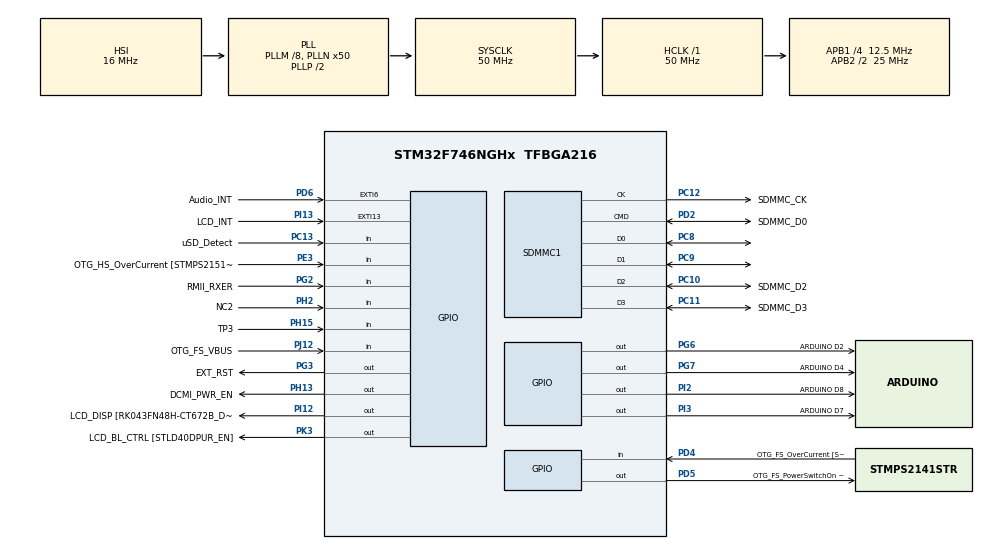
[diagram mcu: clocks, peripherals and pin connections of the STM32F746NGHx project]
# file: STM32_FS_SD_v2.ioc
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Dma.Request0=SDMMC1_RX
Dma.Request1=SDMMC1_TX
Dma.SDMMC1_RX.0.Direction=DMA_PERIPH_TO_MEMORY
Dma.SDMMC1_RX.0.FIFOMode=DMA_FIFOMODE_ENABLE
Dma.SDMMC1_RX.0.FIFOThreshold=DMA_FIFO_THRESHOLD_FULL
Dma.SDMMC1_RX.0.Instance=DMA2_Stream3
Dma.SDMMC1_RX.0.MemBurst=DMA_MBURST_INC4
Dma.SDMMC1_RX.0.MemDataAlignment=DMA_MDATAALIGN_WORD
Dma.SDMMC1_RX.0.MemInc=DMA_MINC_ENABLE
Dma.SDMMC1_RX.0.Mode=DMA_PFCTRL
Dma.SDMMC1_RX.0.PeriphBurst=DMA_PBURST_INC4
Dma.SDMMC1_RX.0.PeriphDataAlignment=DMA_PDATAALIGN_WORD
Dma.SDMMC1_RX.0.PeriphInc=DMA_PINC_DISABLE
Dma.SDMMC1_RX.0.Priority=DMA_PRIORITY_LOW
Dma.SDMMC1_TX.1.Direction=DMA_MEMORY_TO_PERIPH
Dma.SDMMC1_TX.1.FIFOMode=DMA_FIFOMODE_ENABLE
Dma.SDMMC1_TX.1.FIFOThreshold=DMA_FIFO_THRESHOLD_FULL
Dma.SDMMC1_TX.1.Instance=DMA2_Stream6
Dma.SDMMC1_TX.1.MemBurst=DMA_MBURST_INC4
Dma.SDMMC1_TX.1.MemDataAlignment=DMA_MDATAALIGN_WORD
Dma.SDMMC1_TX.1.MemInc=DMA_MINC_ENABLE
Dma.SDMMC1_TX.1.Mode=DMA_PFCTRL
Dma.SDMMC1_TX.1.PeriphBurst=DMA_PBURST_INC4
Dma.SDMMC1_TX.1.PeriphDataAlignment=DMA_PDATAALIGN_WORD
Dma.SDMMC1_TX.1.PeriphInc=DMA_PINC_DISABLE
Dma.SDMMC1_TX.1.Priority=DMA_PRIORITY_LOW
FATFS.BSP.number=1
FATFS.USE_DMA_CODE_SD=1
FATFS0.BSP.STBoard=false
FATFS0.BSP.api=Unknown
FATFS0.BSP.i2caddr=0
FATFS0.BSP.instance=PC13
FATFS0.BSP.ip=GPIO
FATFS0.BSP.mode=Input
FATFS0.BSP.name=Detect_SDIO
FATFS0.BSP.solution=PC13
Mcu.Family=STM32F7
Mcu.Name=STM32F746NGHx
Mcu.Package=TFBGA216
NVIC.DMA2_Stream3_IRQn=true\:0\:0\:false\:false\:true\:false\:true
NVIC.DMA2_Stream6_IRQn=true\:0\:0\:false\:false\:true\:false\:true
NVIC.PriorityGroup=NVIC_PRIORITYGROUP_4
NVIC.SDMMC1_IRQn=true\:0\:0\:false\:false\:true\:true\:true
PA0/WKUP.GPIO_Label=ARDUINO A0
PA0/WKUP.GPIO_Mode=GPIO_MODE_ANALOG
PA0/WKUP.GPIO_PuPd=GPIO_NOPULL
PA0/WKUP.Signal=ADCx_IN0
PA1.GPIO_Label=RMII_REF_CLK [LAN8742A-CZ-TR_REFCLK0]
PA1.Signal=ETH_REF_CLK
PA10.GPIO_Label=OTG_FS_ID
PA10.Signal=USB_OTG_FS_ID
PA11.GPIO_Label=OTG_FS_N
PA11.Signal=USB_OTG_FS_DM
PA12.GPIO_Label=OTG_FS_P
PA12.Signal=USB_OTG_FS_DP
PA13.GPIO_Label=SWDIO
PA13.Signal=SYS_JTMS-SWDIO
PA14.GPIO_Label=SWCLK
PA14.Signal=SYS_JTCK-SWCLK
PA15.GPIO_Label=ARDUINO PWM/D9
PA15.GPIO_ModeDefaultPP=GPIO_MODE_AF_PP
PA15.GPIO_PuPd=GPIO_NOPULL
PA15.GPIO_Speed=GPIO_SPEED_FREQ_LOW
PA15.Signal=S_TIM2_CH1_ETR
PA2.GPIO_Label=RMII_MDIO [LAN8742A-CZ-TR_MDIO]
PA2.Signal=ETH_MDIO
PA3.GPIO_Label=ULPI_D0 [USB3320C-EZK_D0]
PA3.Signal=USB_OTG_HS_ULPI_D0
PA4.GPIO_Label=DCMI_HSYNC
PA4.Signal=DCMI_HSYNC
PA5.GPIO_Label=ULPI_CLK [USB3320C-EZK_CLKOUT]
PA5.Signal=USB_OTG_HS_ULPI_CK
PA6.Signal=DCMI_PIXCLK
PA7.GPIO_Label=RMII_CRS_DV [LAN8742A-CZ-TR_CRS_DV]
PA7.Signal=ETH_CRS_DV
PA8.GPIO_Label=ARDUINO PWM/D10
PA8.GPIO_ModeDefaultPP=GPIO_MODE_AF_PP
PA8.GPIO_PuPd=GPIO_NOPULL
PA8.GPIO_Speed=GPIO_SPEED_FREQ_LOW
PA8.Signal=S_TIM1_CH1
PA9.GPIO_Label=VCP_TX [STM32F103CBT6_PA3]
PA9.GPIO_Mode=GPIO_MODE_AF_PP
PA9.GPIO_PuPd=GPIO_NOPULL
PA9.GPIO_Speed=GPIO_SPEED_FREQ_LOW
PA9.Signal=USART1_TX
PB0.GPIO_Label=ULPI_D1 [USB3320C-EZK_D1]
PB0.Signal=USB_OTG_HS_ULPI_D1
PB1.GPIO_Label=ULPI_D2 [USB3320C-EZK_D2]
PB1.Signal=USB_OTG_HS_ULPI_D2
PB10.GPIO_Label=ULPI_D3 [USB3320C-EZK_D3]
PB10.Signal=USB_OTG_HS_ULPI_D3
PB11.GPIO_Label=ULPI_D4 [USB3320C-EZK_D4]
PB11.Signal=USB_OTG_HS_ULPI_D4
PB12.GPIO_Label=ULPI_D5 [USB3320C-EZK_D5]
PB12.Signal=USB_OTG_HS_ULPI_D5
PB13.GPIO_Label=ULPI_D6 [USB3320C-EZK_D6]
PB13.Signal=USB_OTG_HS_ULPI_D6
PB14.GPIO_Label=ARDUINO MISO/D12
PB14.GPIO_Mode=GPIO_MODE_AF_PP
PB14.GPIO_PuPd=GPIO_NOPULL
PB14.GPIO_Speed=GPIO_SPEED_FREQ_LOW
PB14.Signal=SPI2_MISO
PB15.GPIO_Label=ARDUINO MOSI/PWM/D11
PB15.GPIO_Mode=GPIO_MODE_AF_PP
PB15.GPIO_PuPd=GPIO_NOPULL
PB15.GPIO_Speed=GPIO_SPEED_FREQ_LOW
PB15.Signal=SPI2_MOSI
PB2.Signal=QUADSPI_CLK
PB3.GPIO_Label=SWO
PB3.Signal=SYS_JTDO-SWO
PB4.GPIO_Label=ARDUINO PWM/D3
PB4.GPIO_ModeDefaultPP=GPIO_MODE_AF_PP
PB4.GPIO_PuPd=GPIO_NOPULL
PB4.GPIO_Speed=GPIO_SPEED_FREQ_LOW
PB4.Signal=S_TIM3_CH1
PB5.GPIO_Label=ULPI_D7 [USB3320C-EZK_D7]
PB5.Signal=USB_OTG_HS_ULPI_D7
PB6.GPIO_Label=QSPI_NCS [N25Q128A13EF840E_S]
PB6.Signal=QUADSPI_BK1_NCS
PB7.GPIO_Label=VCP_RX [STM32F103CBT6_PA2]
PB7.GPIO_Mode=GPIO_MODE_AF_PP
PB7.GPIO_PuPd=GPIO_NOPULL
PB7.GPIO_Speed=GPIO_SPEED_FREQ_LOW
PB7.Signal=USART1_RX
PB8.GPIO_Label=ARDUINO SCL/D15
PB8.GPIO_Mode=GPIO_MODE_AF_OD
PB8.GPIO_PuPd=GPIO_NOPULL
PB8.GPIO_Speed=GPIO_SPEED_FREQ_LOW
PB8.Signal=I2C1_SCL
PB9.GPIO_Label=ARDUINO SDA/D14
PB9.GPIO_Mode=GPIO_MODE_AF_OD
PB9.GPIO_PuPd=GPIO_NOPULL
PB9.GPIO_Speed=GPIO_SPEED_FREQ_LOW
PB9.Signal=I2C1_SDA
PC0.GPIO_Label=ULPI_STP [USB3320C-EZK_STP]
PC0.Signal=USB_OTG_HS_ULPI_STP
PC1.GPIO_Label=RMII_MDC [LAN8742A-CZ-TR_MDC]
PC1.Signal=ETH_MDC
PC10.GPIO_Label=SDMMC_D2
PC10.Mode=SD_4_bits_Wide_bus
PC10.Signal=SDMMC1_D2
PC11.GPIO_Label=SDMMC_D3
PC11.Mode=SD_4_bits_Wide_bus
PC11.Signal=SDMMC1_D3
PC12.GPIO_Label=SDMMC_CK
PC12.Mode=SD_4_bits_Wide_bus
PC12.Signal=SDMMC1_CK
PC13.GPIO_Label=uSD_Detect
PC13.Signal=GPIO_Input
PC14/OSC32_IN.GPIO_Label=RCC_OSC32_IN
PC14/OSC32_IN.Signal=RCC_OSC32_IN
PC15/OSC32_OUT.GPIO_Label=RCC_OSC32_OUT
PC15/OSC32_OUT.Signal=RCC_OSC32_OUT
PC2.GPIO_Label=ULPI_DIR [USB3320C-EZK_DIR]
PC2.Signal=USB_OTG_HS_ULPI_DIR
PC3.GPIO_Label=FMC_SDCKE0 [MT48LC4M32B2B5-6A_CKE]
PC3.Signal=FMC_SDCKE0
PC4.GPIO_Label=RMII_RXD0 [LAN8742A-CZ-TR_RXD0]
PC4.Signal=ETH_RXD0
PC5.GPIO_Label=RMII_RXD1 [LAN8742A-CZ-TR_RXD1]
PC5.Signal=ETH_RXD1
PC6.GPIO_Label=ARDUINO TX/D1
PC6.Signal=USART6_TX
PC7.GPIO_Label=ARDUINO RX/D0
PC7.Signal=USART6_RX
PC8.Mode=SD_4_bits_Wide_bus
PC8.Signal=SDMMC1_D0
PC9.Mode=SD_4_bits_Wide_bus
PC9.Signal=SDMMC1_D1
PD0.GPIO_Label=FMC_D2 [MT48LC4M32B2B5-6A_DQ2]
PD0.Signal=FMC_D2_DA2
PD1.GPIO_Label=FMC_D3 [MT48LC4M32B2B5-6A_DQ3]
PD1.Signal=FMC_D3_DA3
PD10.GPIO_Label=FMC_D15 [MT48LC4M32B2B5-6A_DQ15]
PD10.Signal=FMC_D15_DA15
PD11.GPIO_Label=QSPI_D0 [N25Q128A13EF840E_DQ0]
PD11.Signal=QUADSPI_BK1_IO0
PD12.GPIO_Label=QSPI_D1 [N25Q128A13EF840E_DQ1]
PD12.Signal=QUADSPI_BK1_IO1
PD13.GPIO_Label=QSPI_D3 [N25Q128A13EF840E_DQ3]
PD13.Signal=QUADSPI_BK1_IO3
PD14.GPIO_Label=FMC_D0 [MT48LC4M32B2B5-6A_DQ0]
PD14.Signal=FMC_D0_DA0
PD15.GPIO_Label=FMC_D1 [MT48LC4M32B2B5-6A_DQ1]
PD15.Signal=FMC_D1_DA1
PD2.GPIO_Label=SDMMC_D0
PD2.Mode=SD_4_bits_Wide_bus
PD2.Signal=SDMMC1_CMD
PD3.GPIO_Label=DCMI_D5
PD3.Signal=DCMI_D5
PD4.GPIO_Label=OTG_FS_OverCurrent [STMPS2141STR_Fault]
PD4.Signal=GPIO_Input
PD5.GPIO_Label=OTG_FS_PowerSwitchOn [STMPS2141STR_EN]
PD5.PinState=GPIO_PIN_SET
PD5.Signal=GPIO_Output
PD6.GPIO_Label=Audio_INT
PD6.GPIO_ModeDefaultEXTI=GPIO_MODE_EVT_RISING
PD6.Signal=GPXTI6
PD7.GPIO_Label=SPDIF_RX0 [74LVC1G04SE_4]
PD7.Signal=SPDIFRX_IN0
PD8.GPIO_Label=FMC_D13 [MT48LC4M32B2B5-6A_DQ13]
PD8.Signal=FMC_D13_DA13
PD9.GPIO_Label=FMC_D14 [MT48LC4M32B2B5-6A_DQ14]
PD9.Signal=FMC_D14_DA14
PE0.GPIO_Label=FMC_NBL0 [MT48LC4M32B2B5-6A_DQM0]
PE0.Signal=FMC_NBL0
PE1.GPIO_Label=FMC_NBL1 [MT48LC4M32B2B5-6A_DQM1]
PE1.Signal=FMC_NBL1
PE10.GPIO_Label=FMC_D7 [MT48LC4M32B2B5-6A_DQ7]
PE10.Signal=FMC_D7_DA7
PE11.GPIO_Label=FMC_D8 [MT48LC4M32B2B5-6A_DQ8]
PE11.Signal=FMC_D8_DA8
PE12.GPIO_Label=FMC_D9 [MT48LC4M32B2B5-6A_DQ9]
PE12.Signal=FMC_D9_DA9
PE13.GPIO_Label=FMC_D10 [MT48LC4M32B2B5-6A_DQ10]
PE13.Signal=FMC_D10_DA10
PE14.GPIO_Label=FMC_D11 [MT48LC4M32B2B5-6A_DQ11]
PE14.Signal=FMC_D11_DA11
PE15.GPIO_Label=FMC_D12 [MT48LC4M32B2B5-6A_DQ12]
PE15.Signal=FMC_D12_DA12
PE2.GPIO_Label=QSPI_D2 [N25Q128A13EF840E_DQ2]
PE2.Signal=QUADSPI_BK1_IO2
PE3.GPIO_Label=OTG_HS_OverCurrent [STMPS2151STR_FAULT]
PE3.Signal=GPIO_Input
PE4.GPIO_Label=LCD_B0 [RK043FN48H-CT672B_B0]
PE4.Signal=LTDC_B0
PE5.GPIO_Label=DCMI_D6
PE5.Signal=DCMI_D6
PE6.GPIO_Label=DCMI_D7
PE6.Signal=DCMI_D7
PE7.GPIO_Label=FMC_D4 [MT48LC4M32B2B5-6A_DQ4]
PE7.Signal=FMC_D4_DA4
PE8.GPIO_Label=FMC_D5 [MT48LC4M32B2B5-6A_DQ5]
PE8.Signal=FMC_D5_DA5
PE9.GPIO_Label=FMC_D6 [MT48LC4M32B2B5-6A_DQ6]
PE9.Signal=FMC_D6_DA6
PF0.GPIO_Label=FMC_A0 [MT48LC4M32B2B5-6A_A0]
PF0.Signal=FMC_A0
PF1.GPIO_Label=FMC_A1 [MT48LC4M32B2B5-6A_A1]
PF1.Signal=FMC_A1
PF10.GPIO_Label=ARDUINO A1
PF10.GPIO_Mode=GPIO_MODE_ANALOG
PF10.GPIO_PuPd=GPIO_NOPULL
PF10.Signal=ADC3_IN8
PF11.GPIO_Label=FMC_SDNRAS [MT48LC4M32B2B5-6A_RAS]
PF11.Signal=FMC_SDNRAS
PF12.GPIO_Label=FMC_A6 [MT48LC4M32B2B5-6A_A6]
PF12.Signal=FMC_A6
PF13.GPIO_Label=FMC_A7 [MT48LC4M32B2B5-6A_A7]
PF13.Signal=FMC_A7
PF14.GPIO_Label=FMC_A8 [MT48LC4M32B2B5-6A_A8]
PF14.Signal=FMC_A8
PF15.GPIO_Label=FMC_A9 [MT48LC4M32B2B5-6A_A9]
PF15.Signal=FMC_A9
PF2.GPIO_Label=FMC_A2 [MT48LC4M32B2B5-6A_A2]
PF2.Signal=FMC_A2
PF3.GPIO_Label=FMC_A3 [MT48LC4M32B2B5-6A_A3]
PF3.Signal=FMC_A3
PF4.GPIO_Label=FMC_A4 [MT48LC4M32B2B5-6A_A4]
PF4.Signal=FMC_A4
PF5.GPIO_Label=FMC_A5 [MT48LC4M32B2B5-6A_A5]
PF5.Signal=FMC_A5
PF6.GPIO_Label=ARDUINO A5
PF6.GPIO_Mode=GPIO_MODE_ANALOG
PF6.GPIO_PuPd=GPIO_NOPULL
PF6.Signal=ADC3_IN4
PF7.GPIO_Label=ARDUINO A4
PF7.GPIO_Mode=GPIO_MODE_ANALOG
PF7.GPIO_PuPd=GPIO_NOPULL
PF7.Signal=ADC3_IN5
PF8.GPIO_Label=ARDUINO A3
PF8.GPIO_Mode=GPIO_MODE_ANALOG
PF8.GPIO_PuPd=GPIO_NOPULL
PF8.Signal=ADC3_IN6
PF9.GPIO_Label=ARDUINO A2
PF9.GPIO_Mode=GPIO_MODE_ANALOG
PF9.GPIO_PuPd=GPIO_NOPULL
PF9.Signal=ADC3_IN7
PG0.GPIO_Label=FMC_A10 [MT48LC4M32B2B5-6A_A10]
PG0.Signal=FMC_A10
PG1.GPIO_Label=FMC_A11 [MT48LC4M32B2B5-6A_A11]
PG1.Signal=FMC_A11
PG10.GPIO_Label=SAI2_SDB [WM8994ECS/R_ADCDAT1]
PG10.Signal=SAI2_SD_B
PG11.GPIO_Label=RMII_TX_EN [LAN8742A-CZ-TR_TXEN]
PG11.Signal=ETH_TX_EN
PG12.GPIO_Label=LCD_B4 [RK043FN48H-CT672B_B4]
PG12.Signal=LTDC_B4
PG13.GPIO_Label=RMII_TXD0 [LAN8742A-CZ-TR_TXD0]
PG13.Signal=ETH_TXD0
PG14.GPIO_Label=RMII_TXD1 [LAN8742A-CZ-TR_TXD1]
PG14.Signal=ETH_TXD1
PG15.GPIO_Label=FMC_SDNCAS [MT48LC4M32B2B5-6A_CAS]
PG15.Signal=FMC_SDNCAS
PG2.GPIO_Label=RMII_RXER
PG2.Signal=GPIO_Input
PG3.GPIO_Label=EXT_RST
PG3.Signal=GPIO_Output
PG4.GPIO_Label=FMC_BA0 [MT48LC4M32B2B5-6A_BA0]
PG4.Signal=FMC_A14_BA0
PG5.GPIO_Label=FMC_BA1 [MT48LC4M32B2B5-6A_BA1]
PG5.Signal=FMC_A15_BA1
PG6.GPIO_Label=ARDUINO D2
PG6.Signal=GPIO_Output
PG7.GPIO_Label=ARDUINO D4
PG7.Signal=GPIO_Output
PG8.GPIO_Label=FMC_SDCLK [MT48LC4M32B2B5-6A_CLK]
PG8.Signal=FMC_SDCLK
PG9.GPIO_Label=DCMI_VSYNC
PG9.Signal=DCMI_VSYNC
PH0/OSC_IN.GPIO_Label=OSC_25M [NZ2520SB-25.00M_OUT]
PH0/OSC_IN.Signal=RCC_OSC_IN
PH1/OSC_OUT.Signal=RCC_OSC_OUT
PH10.GPIO_Label=DCMI_D1
PH10.Signal=DCMI_D1
PH11.GPIO_Label=DCMI_D2
PH11.Signal=DCMI_D2
PH12.GPIO_Label=DCMI_D3
PH12.Signal=DCMI_D3
PH13.GPIO_Label=DCMI_PWR_EN
PH13.Signal=GPIO_Output
PH14.GPIO_Label=DCMI_D4
PH14.Signal=DCMI_D4
PH15.GPIO_Label=TP3
PH15.Signal=GPIO_Input
PH2.GPIO_Label=NC2
PH2.Signal=GPIO_Input
PH3.GPIO_Label=FMC_SDNE0 [MT48LC4M32B2B5-6A_CS]
PH3.Signal=FMC_SDNE0
PH4.GPIO_Label=ULPI_NXT [USB3320C-EZK_NXT]
PH4.Signal=USB_OTG_HS_ULPI_NXT
PH5.GPIO_Label=FMC_SDNME [MT48LC4M32B2B5-6A_WE]
PH5.Signal=FMC_SDNWE
PH6.GPIO_Label=ARDUINO PWM/D6
PH6.Signal=S_TIM12_CH1
PH7.GPIO_Label=LCD_SCL [RK043FN48H-CT672B_SCL]
PH7.Signal=I2C3_SCL
PH8.GPIO_Label=LCD_SDA [RK043FN48H-CT672B_SDA]
PH8.Signal=I2C3_SDA
PH9.GPIO_Label=DCMI_D0
PH9.Signal=DCMI_D0
PI0.GPIO_Label=ARDUINO PWM/CS/D5
PI0.GPIO_ModeDefaultPP=GPIO_MODE_AF_PP
PI0.GPIO_PuPd=GPIO_NOPULL
PI0.GPIO_Speed=GPIO_SPEED_FREQ_LOW
PI0.Signal=S_TIM5_CH4
PI1.GPIO_Label=ARDUINO SCK/D13
PI1.GPIO_Mode=GPIO_MODE_AF_PP
PI1.GPIO_PuPd=GPIO_NOPULL
PI1.GPIO_Speed=GPIO_SPEED_FREQ_LOW
PI1.Signal=SPI2_SCK
PI10.GPIO_Label=LCD_HSYNC [RK043FN48H-CT672B_HSYNC]
PI10.Signal=LTDC_HSYNC
PI12.GPIO_Label=LCD_DISP [RK043FN48H-CT672B_DISP] 
PI12.Signal=GPIO_Output
PI13.GPIO_Label=LCD_INT
PI13.GPIO_ModeDefaultEXTI=GPIO_MODE_EVT_RISING
PI13.Signal=GPXTI13
PI14.GPIO_Label=LCD_CLK [RK043FN48H-CT672B_CLK]
PI14.Signal=LTDC_CLK
PI15.GPIO_Label=LCD_R0 [RK043FN48H-CT672B_R0]
PI15.Signal=LTDC_R0
PI2.GPIO_Label=ARDUINO D8
PI2.Signal=GPIO_Output
PI3.GPIO_Label=ARDUINO D7
PI3.Signal=GPIO_Output
PI4.GPIO_Label=SAI2_MCLKA [WM8994ECS/R_MCLK1]
PI4.Signal=SAI2_MCLK_A
PI5.GPIO_Label=SAI2_SCKA [WM8994ECS/R_BCLK1]
PI5.Signal=SAI2_SCK_A
PI6.GPIO_Label=SAI2_SDA [WM8994ECS/R_DACDAT1]
PI6.Signal=SAI2_SD_A
PI7.GPIO_Label=SAI2_FSA [WM8994ECS/R_LRCLK1]
PI7.Signal=SAI2_FS_A
PI8.GPIO_Label=NC1 [TP2]
PI8.Signal=RTC_TS
PI9.GPIO_Label=LCD_VSYNC [RK043FN48H-CT672B_VSYNC]
PI9.Signal=LTDC_VSYNC
PJ0.GPIO_Label=LCD_R1 [RK043FN48H-CT672B_R1]
PJ0.Signal=LTDC_R1
PJ1.GPIO_Label=LCD_R2 [RK043FN48H-CT672B_R2]
PJ1.Signal=LTDC_R2
PJ10.GPIO_Label=LCD_G3 [RK043FN48H-CT672B_G3]
PJ10.Signal=LTDC_G3
PJ11.GPIO_Label=LCD_G4 [RK043FN48H-CT672B_G4]
PJ11.Signal=LTDC_G4
PJ12.GPIO_Label=OTG_FS_VBUS
PJ12.Signal=GPIO_Input
PJ13.GPIO_Label=LCD_B1 [RK043FN48H-CT672B_B1]
PJ13.Signal=LTDC_B1
PJ14.GPIO_Label=LCD_B2 [RK043FN48H-CT672B_B2]
PJ14.Signal=LTDC_B2
PJ15.GPIO_Label=LCD_B3 [RK043FN48H-CT672B_B3]
PJ15.Signal=LTDC_B3
PJ2.GPIO_Label=LCD_R3 [RK043FN48H-CT672B_R3]
PJ2.Signal=LTDC_R3
PJ3.GPIO_Label=LCD_R4 [RK043FN48H-CT672B_R4]
PJ3.Signal=LTDC_R4
PJ4.GPIO_Label=LCD_R5 [RK043FN48H-CT672B_R5]
PJ4.Signal=LTDC_R5
PJ5.GPIO_Label=LCD_R6 [RK043FN48H-CT672B_R6]
PJ5.Signal=LTDC_R6
PJ6.GPIO_Label=LCD_R7 [RK043FN48H-CT672B_R7]
PJ6.Signal=LTDC_R7
PJ7.GPIO_Label=LCD_G0 [RK043FN48H-CT672B_G0]
PJ7.Signal=LTDC_G0
PJ8.GPIO_Label=LCD_G1 [RK043FN48H-CT672B_G1]
PJ8.Signal=LTDC_G1
PJ9.GPIO_Label=LCD_G2 [RK043FN48H-CT672B_G2]
PJ9.Signal=LTDC_G2
PK0.GPIO_Label=LCD_G5 [RK043FN48H-CT672B_G5]
PK0.Signal=LTDC_G5
PK1.GPIO_Label=LCD_G6 [RK043FN48H-CT672B_G6]
PK1.Signal=LTDC_G6
PK2.GPIO_Label=LCD_G7 [RK043FN48H-CT672B_G7]
PK2.Signal=LTDC_G7
PK3.GPIO_Label=LCD_BL_CTRL [STLD40DPUR_EN]
PK3.Signal=GPIO_Output
PK4.GPIO_Label=LCD_B5 [RK043FN48H-CT672B_B5]
PK4.Signal=LTDC_B5
PK5.GPIO_Label=LCD_B6 [RK043FN48H-CT672B_B6]
PK5.Signal=LTDC_B6
PK6.GPIO_Label=LCD_B7 [RK043FN48H-CT672B_B7]
PK6.Signal=LTDC_B7
PK7.GPIO_Label=LCD_DE [RK043FN48H-CT672B_DE]
PK7.Signal=LTDC_DE
ProjectManager.HeapSize=0x400
ProjectManager.StackSize=0x800
ProjectManager.TargetToolchain=STM32CubeIDE
RCC.AHBFreq_Value=50000000
RCC.APB1CLKDivider=RCC_HCLK_DIV4
RCC.APB1Freq_Value=12500000
RCC.APB1TimFreq_Value=25000000
RCC.APB2CLKDivider=RCC_HCLK_DIV2
RCC.APB2Freq_Value=25000000
RCC.APB2TimFreq_Value=50000000
RCC.CortexFreq_Value=50000000
RCC.HCLKFreq_Value=50000000
RCC.HSE_VALUE=25000000
RCC.HSI_VALUE=16000000
RCC.LSE_VALUE=32768
RCC.PLLM=8
RCC.PLLN=50
RCC.PLLSourceVirtual=RCC_PLLSOURCE_HSI
RCC.SYSCLKFreq_VALUE=50000000
RCC.SYSCLKSource=RCC_SYSCLKSOURCE_PLLCLK
RCC.USBFreq_Value=50000000
RCC.VCOOutputFreq_Value=100000000
SH.ADCx_IN0.0=ADC3_IN0
SH.FMC_A0.0=FMC_A0
SH.FMC_A1.0=FMC_A1
SH.FMC_A10.0=FMC_A10
SH.FMC_A11.0=FMC_A11
SH.FMC_A14_BA0.0=FMC_BA0
SH.FMC_A15_BA1.0=FMC_BA1
SH.FMC_A2.0=FMC_A2
SH.FMC_A3.0=FMC_A3
SH.FMC_A4.0=FMC_A4
SH.FMC_A5.0=FMC_A5
SH.FMC_A6.0=FMC_A6
SH.FMC_A7.0=FMC_A7
SH.FMC_A8.0=FMC_A8
SH.FMC_A9.0=FMC_A9
SH.FMC_D0_DA0.0=FMC_D0
SH.FMC_D10_DA10.0=FMC_D10
SH.FMC_D11_DA11.0=FMC_D11
SH.FMC_D12_DA12.0=FMC_D12
SH.FMC_D13_DA13.0=FMC_D13
SH.FMC_D14_DA14.0=FMC_D14
SH.FMC_D15_DA15.0=FMC_D15
SH.FMC_D1_DA1.0=FMC_D1
SH.FMC_D2_DA2.0=FMC_D2
SH.FMC_D3_DA3.0=FMC_D3
SH.FMC_D4_DA4.0=FMC_D4
SH.FMC_D5_DA5.0=FMC_D5
SH.FMC_D6_DA6.0=FMC_D6
SH.FMC_D7_DA7.0=FMC_D7
SH.FMC_D8_DA8.0=FMC_D8
SH.FMC_D9_DA9.0=FMC_D9
SH.FMC_NBL0.0=FMC_NBL0
SH.FMC_NBL1.0=FMC_NBL1
SH.FMC_SDCLK.0=FMC_SDCLK
SH.FMC_SDNCAS.0=FMC_SDNCAS
SH.FMC_SDNRAS.0=FMC_SDNRAS
SH.FMC_SDNWE.0=FMC_SDNWE
SH.S_TIM12_CH1.0=TIM12_CH1
SH.S_TIM1_CH1.0=TIM1_CH1
SH.S_TIM2_CH1_ETR.0=TIM2_CH1
SH.S_TIM3_CH1.0=TIM3_CH1
SH.S_TIM5_CH4.0=TIM5_CH4
VP_FATFS_VS_SDIO.Mode=SDIO
board=STM32F746G-DISCO

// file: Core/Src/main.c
/* USER CODE BEGIN Header */
/**
  ******************************************************************************
  * @file           : main.c
  * @brief          : Main program body
  ******************************************************************************
  * @attention
  *
  * <h2><center>&copy; Copyright (c) 2020 STMicroelectronics.
  * All rights reserved.</center></h2>
  *
  * This software component is licensed by ST under BSD 3-Clause license,
  * the "License"; You may not use this file except in compliance with the
  * License. You may obtain a copy of the License at:
  *                        opensource.org/licenses/BSD-3-Clause
  *
  ******************************************************************************
  */
/* USER CODE END Header */
#include "main.h"
#include "fatfs.h"

SD_HandleTypeDef hsd1;
DMA_HandleTypeDef hdma_sdmmc1_rx;
DMA_HandleTypeDef hdma_sdmmc1_tx;

void SystemClock_Config(void);
static void MX_GPIO_Init(void);
static void MX_DMA_Init(void);
static void MX_SDMMC1_SD_Init(void);

int main(void)
{
  /* USER CODE BEGIN 1 */
	FRESULT res; /* FatFs function common result code */
	uint32_t byteswritten, bytesread; /* File write/read counts */
	uint8_t wtext[] = "STM32 FATFS works great!"; /* File write buffer */
	uint8_t rtext[_MAX_SS];/* File read buffer */
  /* USER CODE END 1 */

  /* MCU Configuration--------------------------------------------------------*/

  /* Reset of all peripherals, Initializes the Flash interface and the Systick. */
  HAL_Init();

  /* Configure the system clock */
  SystemClock_Config();

  /* Initialize all configured peripherals */
  MX_GPIO_Init();
  MX_DMA_Init();
  MX_SDMMC1_SD_Init();
  MX_FATFS_Init();
  /* USER CODE BEGIN 2 */
	if(f_mount(&SDFatFS, (TCHAR const*)SDPath, 0) != FR_OK)
	{
		Error_Handler();
	}
	else
	{
		if(f_mkfs((TCHAR const*)SDPath, FM_ANY, 0, rtext, sizeof(rtext)) != FR_OK)
	    {
			Error_Handler();
	    }
		else
		{
			//Open file for writing (Create)
			if(f_open(&SDFile, "STM32.TXT", FA_CREATE_ALWAYS | FA_WRITE) != FR_OK)
			{
				Error_Handler();
			}
			else
			{

				//Write to the text file
				res = f_write(&SDFile, wtext, strlen((char *)wtext), (void *)&byteswritten);
				if((byteswritten == 0) || (res != FR_OK))
				{
					Error_Handler();
				}
				else
				{

					f_close(&SDFile);
				}
			}
		}
	}
	f_mount(&SDFatFS, (TCHAR const*)NULL, 0);
  /* USER CODE END 2 */

  /* Infinite loop */
  while (1)
  {

  }
}

void SystemClock_Config(void)
{
  RCC_OscInitTypeDef RCC_OscInitStruct = {0};
  RCC_ClkInitTypeDef RCC_ClkInitStruct = {0};
  RCC_PeriphCLKInitTypeDef PeriphClkInitStruct = {0};

  /** Configure the main internal regulator output voltage
  */
  __HAL_RCC_PWR_CLK_ENABLE();
  __HAL_PWR_VOLTAGESCALING_CONFIG(PWR_REGULATOR_VOLTAGE_SCALE3);
  /** Initializes the RCC Oscillators according to the specified parameters
  * in the RCC_OscInitTypeDef structure.
  */
  RCC_OscInitStruct.OscillatorType = RCC_OSCILLATORTYPE_HSI;
  RCC_OscInitStruct.HSIState = RCC_HSI_ON;
  RCC_OscInitStruct.HSICalibrationValue = RCC_HSICALIBRATION_DEFAULT;
  RCC_OscInitStruct.PLL.PLLState = RCC_PLL_ON;
  RCC_OscInitStruct.PLL.PLLSource = RCC_PLLSOURCE_HSI;
  RCC_OscInitStruct.PLL.PLLM = 8;
  RCC_OscInitStruct.PLL.PLLN = 50;
  RCC_OscInitStruct.PLL.PLLP = RCC_PLLP_DIV2;
  RCC_OscInitStruct.PLL.PLLQ = 2;
  if (HAL_RCC_OscConfig(&RCC_OscInitStruct) != HAL_OK)
  {
    Error_Handler();
  }
  /** Initializes the CPU, AHB and APB buses clocks
  */
  RCC_ClkInitStruct.ClockType = RCC_CLOCKTYPE_HCLK|RCC_CLOCKTYPE_SYSCLK
                              |RCC_CLOCKTYPE_PCLK1|RCC_CLOCKTYPE_PCLK2;
  RCC_ClkInitStruct.SYSCLKSource = RCC_SYSCLKSOURCE_PLLCLK;
  RCC_ClkInitStruct.AHBCLKDivider = RCC_SYSCLK_DIV1;
  RCC_ClkInitStruct.APB1CLKDivider = RCC_HCLK_DIV4;
  RCC_ClkInitStruct.APB2CLKDivider = RCC_HCLK_DIV2;

  if (HAL_RCC_ClockConfig(&RCC_ClkInitStruct, FLASH_LATENCY_1) != HAL_OK)
  {
    Error_Handler();
  }
  PeriphClkInitStruct.PeriphClockSelection = RCC_PERIPHCLK_SDMMC1;
  PeriphClkInitStruct.Sdmmc1ClockSelection = RCC_SDMMC1CLKSOURCE_SYSCLK;
  if (HAL_RCCEx_PeriphCLKConfig(&PeriphClkInitStruct) != HAL_OK)
  {
    Error_Handler();
  }
}

static void MX_SDMMC1_SD_Init(void)
{

  hsd1.Instance = SDMMC1;
  hsd1.Init.ClockEdge = SDMMC_CLOCK_EDGE_RISING;
  hsd1.Init.ClockBypass = SDMMC_CLOCK_BYPASS_DISABLE;
  hsd1.Init.ClockPowerSave = SDMMC_CLOCK_POWER_SAVE_DISABLE;
  hsd1.Init.BusWide = SDMMC_BUS_WIDE_1B;
  hsd1.Init.HardwareFlowControl = SDMMC_HARDWARE_FLOW_CONTROL_DISABLE;
  hsd1.Init.ClockDiv = 0;

}

static void MX_DMA_Init(void)
{

  /* DMA controller clock enable */
  __HAL_RCC_DMA2_CLK_ENABLE();

  /* DMA interrupt init */
  /* DMA2_Stream3_IRQn interrupt configuration */
  HAL_NVIC_SetPriority(DMA2_Stream3_IRQn, 0, 0);
  HAL_NVIC_EnableIRQ(DMA2_Stream3_IRQn);
  /* DMA2_Stream6_IRQn interrupt configuration */
  HAL_NVIC_SetPriority(DMA2_Stream6_IRQn, 0, 0);
  HAL_NVIC_EnableIRQ(DMA2_Stream6_IRQn);

}

static void MX_GPIO_Init(void)
{
  GPIO_InitTypeDef GPIO_InitStruct = {0};

  /* GPIO Ports Clock Enable */
  __HAL_RCC_GPIOE_CLK_ENABLE();
  __HAL_RCC_GPIOG_CLK_ENABLE();
  __HAL_RCC_GPIOB_CLK_ENABLE();
  __HAL_RCC_GPIOD_CLK_ENABLE();
  __HAL_RCC_GPIOC_CLK_ENABLE();
  __HAL_RCC_GPIOA_CLK_ENABLE();
  __HAL_RCC_GPIOJ_CLK_ENABLE();
  __HAL_RCC_GPIOI_CLK_ENABLE();
  __HAL_RCC_GPIOK_CLK_ENABLE();
  __HAL_RCC_GPIOF_CLK_ENABLE();
  __HAL_RCC_GPIOH_CLK_ENABLE();

  /*Configure GPIO pin Output Level */
  HAL_GPIO_WritePin(OTG_FS_PowerSwitchOn_GPIO_Port, OTG_FS_PowerSwitchOn_Pin, GPIO_PIN_SET);

  /*Configure GPIO pin Output Level */
  HAL_GPIO_WritePin(GPIOI, ARDUINO_D7_Pin|ARDUINO_D8_Pin|LCD_DISP_Pin, GPIO_PIN_RESET);

  /*Configure GPIO pin Output Level */
  HAL_GPIO_WritePin(LCD_BL_CTRL_GPIO_Port, LCD_BL_CTRL_Pin, GPIO_PIN_RESET);

  /*Configure GPIO pin Output Level */
  HAL_GPIO_WritePin(DCMI_PWR_EN_GPIO_Port, DCMI_PWR_EN_Pin, GPIO_PIN_RESET);

  /*Configure GPIO pin Output Level */
  HAL_GPIO_WritePin(GPIOG, ARDUINO_D4_Pin|ARDUINO_D2_Pin|EXT_RST_Pin, GPIO_PIN_RESET);

  /*Configure GPIO pin : LCD_B0_Pin */
  GPIO_InitStruct.Pin = LCD_B0_Pin;
  GPIO_InitStruct.Mode = GPIO_MODE_AF_PP;
  GPIO_InitStruct.Pull = GPIO_NOPULL;
  GPIO_InitStruct.Speed = GPIO_SPEED_FREQ_LOW;
  GPIO_InitStruct.Alternate = GPIO_AF14_LTDC;
  HAL_GPIO_Init(LCD_B0_GPIO_Port, &GPIO_InitStruct);

  /*Configure GPIO pin : OTG_HS_OverCurrent_Pin */
  GPIO_InitStruct.Pin = OTG_HS_OverCurrent_Pin;
  GPIO_InitStruct.Mode = GPIO_MODE_INPUT;
  GPIO_InitStruct.Pull = GPIO_NOPULL;
  HAL_GPIO_Init(OTG_HS_OverCurrent_GPIO_Port, &GPIO_InitStruct);

  /*Configure GPIO pin : QSPI_D2_Pin */
  GPIO_InitStruct.Pin = QSPI_D2_Pin;
  GPIO_InitStruct.Mode = GPIO_MODE_AF_PP;
  GPIO_InitStruct.Pull = GPIO_NOPULL;
  GPIO_InitStruct.Speed = GPIO_SPEED_FREQ_VERY_HIGH;
  GPIO_InitStruct.Alternate = GPIO_AF9_QUADSPI;
  HAL_GPIO_Init(QSPI_D2_GPIO_Port, &GPIO_InitStruct);

  /*Configure GPIO pins : RMII_TXD1_Pin RMII_TXD0_Pin RMII_TX_EN_Pin */
  GPIO_InitStruct.Pin = RMII_TXD1_Pin|RMII_TXD0_Pin|RMII_TX_EN_Pin;
  GPIO_InitStruct.Mode = GPIO_MODE_AF_PP;
  GPIO_InitStruct.Pull = GPIO_NOPULL;
  GPIO_InitStruct.Speed = GPIO_SPEED_FREQ_VERY_HIGH;
  GPIO_InitStruct.Alternate = GPIO_AF11_ETH;
  HAL_GPIO_Init(GPIOG, &GPIO_InitStruct);

  /*Configure GPIO pins : FMC_NBL1_Pin FMC_NBL0_Pin FMC_D5_Pin FMC_D6_Pin
                           FMC_D8_Pin FMC_D11_Pin FMC_D4_Pin FMC_D7_Pin
                           FMC_D9_Pin FMC_D12_Pin FMC_D10_Pin */
  GPIO_InitStruct.Pin = FMC_NBL1_Pin|FMC_NBL0_Pin|FMC_D5_Pin|FMC_D6_Pin
                          |FMC_D8_Pin|FMC_D11_Pin|FMC_D4_Pin|FMC_D7_Pin
                          |FMC_D9_Pin|FMC_D12_Pin|FMC_D10_Pin;
  GPIO_InitStruct.Mode = GPIO_MODE_AF_PP;
  GPIO_InitStruct.Pull = GPIO_NOPULL;
  GPIO_InitStruct.Speed = GPIO_SPEED_FREQ_VERY_HIGH;
  GPIO_InitStruct.Alternate = GPIO_AF12_FMC;
  HAL_GPIO_Init(GPIOE, &GPIO_InitStruct);

  /*Configure GPIO pins : ARDUINO_SCL_D15_Pin ARDUINO_SDA_D14_Pin */
  GPIO_InitStruct.Pin = ARDUINO_SCL_D15_Pin|ARDUINO_SDA_D14_Pin;
  GPIO_InitStruct.Mode = GPIO_MODE_AF_OD;
  GPIO_InitStruct.Pull = GPIO_PULLUP;
  GPIO_InitStruct.Speed = GPIO_SPEED_FREQ_LOW;
  GPIO_InitStruct.Alternate = GPIO_AF4_I2C1;
  HAL_GPIO_Init(GPIOB, &GPIO_InitStruct);

  /*Configure GPIO pins : ULPI_D7_Pin ULPI_D6_Pin ULPI_D5_Pin ULPI_D3_Pin
                           ULPI_D2_Pin ULPI_D1_Pin ULPI_D4_Pin */
  GPIO_InitStruct.Pin = ULPI_D7_Pin|ULPI_D6_Pin|ULPI_D5_Pin|ULPI_D3_Pin
                          |ULPI_D2_Pin|ULPI_D1_Pin|ULPI_D4_Pin;
  GPIO_InitStruct.Mode = GPIO_MODE_AF_PP;
  GPIO_InitStruct.Pull = GPIO_NOPULL;
  GPIO_InitStruct.Speed = GPIO_SPEED_FREQ_VERY_HIGH;
  GPIO_InitStruct.Alternate = GPIO_AF10_OTG_HS;
  HAL_GPIO_Init(GPIOB, &GPIO_InitStruct);

  /*Configure GPIO pin : ARDUINO_PWM_D3_Pin */
  GPIO_InitStruct.Pin = ARDUINO_PWM_D3_Pin;
  GPIO_InitStruct.Mode = GPIO_MODE_AF_PP;
  GPIO_InitStruct.Pull = GPIO_NOPULL;
  GPIO_InitStruct.Speed = GPIO_SPEED_FREQ_LOW;
  GPIO_InitStruct.Alternate = GPIO_AF2_TIM3;
  HAL_GPIO_Init(ARDUINO_PWM_D3_GPIO_Port, &GPIO_InitStruct);

  /*Configure GPIO pin : SPDIF_RX0_Pin */
  GPIO_InitStruct.Pin = SPDIF_RX0_Pin;
  GPIO_InitStruct.Mode = GPIO_MODE_AF_PP;
  GPIO_InitStruct.Pull = GPIO_NOPULL;
  GPIO_InitStruct.Speed = GPIO_SPEED_FREQ_LOW;
  GPIO_InitStruct.Alternate = GPIO_AF8_SPDIFRX;
  HAL_GPIO_Init(SPDIF_RX0_GPIO_Port, &GPIO_InitStruct);

  /*Configure GPIO pin : ARDUINO_PWM_D9_Pin */
  GPIO_InitStruct.Pin = ARDUINO_PWM_D9_Pin;
  GPIO_InitStruct.Mode = GPIO_MODE_AF_PP;
  GPIO_InitStruct.Pull = GPIO_NOPULL;
  GPIO_InitStruct.Speed = GPIO_SPEED_FREQ_LOW;
  GPIO_InitStruct.Alternate = GPIO_AF1_TIM2;
  HAL_GPIO_Init(ARDUINO_PWM_D9_GPIO_Port, &GPIO_InitStruct);

  /*Configure GPIO pins : DCMI_D6_Pin DCMI_D7_Pin */
  GPIO_InitStruct.Pin = DCMI_D6_Pin|DCMI_D7_Pin;
  GPIO_InitStruct.Mode = GPIO_MODE_AF_PP;
  GPIO_InitStruct.Pull = GPIO_NOPULL;
  GPIO_InitStruct.Speed = GPIO_SPEED_FREQ_LOW;
  GPIO_InitStruct.Alternate = GPIO_AF13_DCMI;
  HAL_GPIO_Init(GPIOE, &GPIO_InitStruct);

  /*Configure GPIO pin : VCP_RX_Pin */
  GPIO_InitStruct.Pin = VCP_RX_Pin;
  GPIO_InitStruct.Mode = GPIO_MODE_AF_PP;
  GPIO_InitStruct.Pull = GPIO_NOPULL;
  GPIO_InitStruct.Speed = GPIO_SPEED_FREQ_LOW;
  GPIO_InitStruct.Alternate = GPIO_AF7_USART1;
  HAL_GPIO_Init(VCP_RX_GPIO_Port, &GPIO_InitStruct);

  /*Configure GPIO pin : QSPI_NCS_Pin */
  GPIO_InitStruct.Pin = QSPI_NCS_Pin;
  GPIO_InitStruct.Mode = GPIO_MODE_AF_PP;
  GPIO_InitStruct.Pull = GPIO_NOPULL;
  GPIO_InitStruct.Speed = GPIO_SPEED_FREQ_VERY_HIGH;
  GPIO_InitStruct.Alternate = GPIO_AF10_QUADSPI;
  HAL_GPIO_Init(QSPI_NCS_GPIO_Port, &GPIO_InitStruct);

  /*Configure GPIO pins : FMC_SDNCAS_Pin FMC_SDCLK_Pin FMC_A11_Pin FMC_A10_Pin
                           FMC_BA1_Pin FMC_BA0_Pin */
  GPIO_InitStruct.Pin = FMC_SDNCAS_Pin|FMC_SDCLK_Pin|FMC_A11_Pin|FMC_A10_Pin
                          |FMC_BA1_Pin|FMC_BA0_Pin;
  GPIO_InitStruct.Mode = GPIO_MODE_AF_PP;
  GPIO_InitStruct.Pull = GPIO_NOPULL;
  GPIO_InitStruct.Speed = GPIO_SPEED_FREQ_VERY_HIGH;
  GPIO_InitStruct.Alternate = GPIO_AF12_FMC;
  HAL_GPIO_Init(GPIOG, &GPIO_InitStruct);

  /*Configure GPIO pins : LCD_B1_Pin LCD_B2_Pin LCD_B3_Pin LCD_G4_Pin
                           LCD_G1_Pin LCD_G3_Pin LCD_G0_Pin LCD_G2_Pin
                           LCD_R7_Pin LCD_R5_Pin LCD_R6_Pin LCD_R4_Pin
                           LCD_R3_Pin LCD_R1_Pin LCD_R2_Pin */
  GPIO_InitStruct.Pin = LCD_B1_Pin|LCD_B2_Pin|LCD_B3_Pin|LCD_G4_Pin
                          |LCD_G1_Pin|LCD_G3_Pin|LCD_G0_Pin|LCD_G2_Pin
                          |LCD_R7_Pin|LCD_R5_Pin|LCD_R6_Pin|LCD_R4_Pin
                          |LCD_R3_Pin|LCD_R1_Pin|LCD_R2_Pin;
  GPIO_InitStruct.Mode = GPIO_MODE_AF_PP;
  GPIO_InitStruct.Pull = GPIO_NOPULL;
  GPIO_InitStruct.Speed = GPIO_SPEED_FREQ_LOW;
  GPIO_InitStruct.Alternate = GPIO_AF14_LTDC;
  HAL_GPIO_Init(GPIOJ, &GPIO_InitStruct);

  /*Configure GPIO pin : OTG_FS_VBUS_Pin */
  GPIO_InitStruct.Pin = OTG_FS_VBUS_Pin;
  GPIO_InitStruct.Mode = GPIO_MODE_INPUT;
  GPIO_InitStruct.Pull = GPIO_NOPULL;
  HAL_GPIO_Init(OTG_FS_VBUS_GPIO_Port, &GPIO_InitStruct);

  /*Configure GPIO pin : Audio_INT_Pin */
  GPIO_InitStruct.Pin = Audio_INT_Pin;
  GPIO_InitStruct.Mode = GPIO_MODE_EVT_RISING;
  GPIO_InitStruct.Pull = GPIO_NOPULL;
  HAL_GPIO_Init(Audio_INT_GPIO_Port, &GPIO_InitStruct);

  /*Configure GPIO pins : FMC_D2_Pin FMC_D3_Pin FMC_D1_Pin FMC_D15_Pin
                           FMC_D0_Pin FMC_D14_Pin FMC_D13_Pin */
  GPIO_InitStruct.Pin = FMC_D2_Pin|FMC_D3_Pin|FMC_D1_Pin|FMC_D15_Pin
                          |FMC_D0_Pin|FMC_D14_Pin|FMC_D13_Pin;
  GPIO_InitStruct.Mode = GPIO_MODE_AF_PP;
  GPIO_InitStruct.Pull = GPIO_NOPULL;
  GPIO_InitStruct.Speed = GPIO_SPEED_FREQ_VERY_HIGH;
  GPIO_InitStruct.Alternate = GPIO_AF12_FMC;
  HAL_GPIO_Init(GPIOD, &GPIO_InitStruct);

  /*Configure GPIO pins : OTG_FS_P_Pin OTG_FS_N_Pin OTG_FS_ID_Pin */
  GPIO_InitStruct.Pin = OTG_FS_P_Pin|OTG_FS_N_Pin|OTG_FS_ID_Pin;
  GPIO_InitStruct.Mode = GPIO_MODE_AF_PP;
  GPIO_InitStruct.Pull = GPIO_NOPULL;
  GPIO_InitStruct.Speed = GPIO_SPEED_FREQ_VERY_HIGH;
  GPIO_InitStruct.Alternate = GPIO_AF10_OTG_FS;
  HAL_GPIO_Init(GPIOA, &GPIO_InitStruct);

  /*Configure GPIO pins : SAI2_MCLKA_Pin SAI2_SCKA_Pin SAI2_FSA_Pin SAI2_SDA_Pin */
  GPIO_InitStruct.Pin = SAI2_MCLKA_Pin|SAI2_SCKA_Pin|SAI2_FSA_Pin|SAI2_SDA_Pin;
  GPIO_InitStruct.Mode = GPIO_MODE_AF_PP;
  GPIO_InitStruct.Pull = GPIO_NOPULL;
  GPIO_InitStruct.Speed = GPIO_SPEED_FREQ_LOW;
  GPIO_InitStruct.Alternate = GPIO_AF10_SAI2;
  HAL_GPIO_Init(GPIOI, &GPIO_InitStruct);

  /*Configure GPIO pins : LCD_DE_Pin LCD_B7_Pin LCD_B6_Pin LCD_B5_Pin
                           LCD_G6_Pin LCD_G7_Pin LCD_G5_Pin */
  GPIO_InitStruct.Pin = LCD_DE_Pin|LCD_B7_Pin|LCD_B6_Pin|LCD_B5_Pin
                          |LCD_G6_Pin|LCD_G7_Pin|LCD_G5_Pin;
  GPIO_InitStruct.Mode = GPIO_MODE_AF_PP;
  GPIO_InitStruct.Pull = GPIO_NOPULL;
  GPIO_InitStruct.Speed = GPIO_SPEED_FREQ_LOW;
  GPIO_InitStruct.Alternate = GPIO_AF14_LTDC;
  HAL_GPIO_Init(GPIOK, &GPIO_InitStruct);

  /*Configure GPIO pin : LCD_B4_Pin */
  GPIO_InitStruct.Pin = LCD_B4_Pin;
  GPIO_InitStruct.Mode = GPIO_MODE_AF_PP;
  GPIO_InitStruct.Pull = GPIO_NOPULL;
  GPIO_InitStruct.Speed = GPIO_SPEED_FREQ_LOW;
  GPIO_InitStruct.Alternate = GPIO_AF9_LTDC;
  HAL_GPIO_Init(LCD_B4_GPIO_Port, &GPIO_InitStruct);

  /*Configure GPIO pin : SAI2_SDB_Pin */
  GPIO_InitStruct.Pin = SAI2_SDB_Pin;
  GPIO_InitStruct.Mode = GPIO_MODE_AF_PP;
  GPIO_InitStruct.Pull = GPIO_NOPULL;
  GPIO_InitStruct.Speed = GPIO_SPEED_FREQ_LOW;
  GPIO_InitStruct.Alternate = GPIO_AF10_SAI2;
  HAL_GPIO_Init(SAI2_SDB_GPIO_Port, &GPIO_InitStruct);

  /*Configure GPIO pin : OTG_FS_PowerSwitchOn_Pin */
  GPIO_InitStruct.Pin = OTG_FS_PowerSwitchOn_Pin;
  GPIO_InitStruct.Mode = GPIO_MODE_OUTPUT_PP;
  GPIO_InitStruct.Pull = GPIO_NOPULL;
  GPIO_InitStruct.Speed = GPIO_SPEED_FREQ_LOW;
  HAL_GPIO_Init(OTG_FS_PowerSwitchOn_GPIO_Port, &GPIO_InitStruct);

  /*Configure GPIO pin : DCMI_D5_Pin */
  GPIO_InitStruct.Pin = DCMI_D5_Pin;
  GPIO_InitStruct.Mode = GPIO_MODE_AF_PP;
  GPIO_InitStruct.Pull = GPIO_NOPULL;
  GPIO_InitStruct.Speed = GPIO_SPEED_FREQ_LOW;
  GPIO_InitStruct.Alternate = GPIO_AF13_DCMI;
  HAL_GPIO_Init(DCMI_D5_GPIO_Port, &GPIO_InitStruct);

  /*Configure GPIO pins : ARDUINO_D7_Pin ARDUINO_D8_Pin LCD_DISP_Pin */
  GPIO_InitStruct.Pin = ARDUINO_D7_Pin|ARDUINO_D8_Pin|LCD_DISP_Pin;
  GPIO_InitStruct.Mode = GPIO_MODE_OUTPUT_PP;
  GPIO_InitStruct.Pull = GPIO_NOPULL;
  GPIO_InitStruct.Speed = GPIO_SPEED_FREQ_LOW;
  HAL_GPIO_Init(GPIOI, &GPIO_InitStruct);

  /*Configure GPIO pin : uSD_Detect_Pin */
  GPIO_InitStruct.Pin = uSD_Detect_Pin;
  GPIO_InitStruct.Mode = GPIO_MODE_INPUT;
  GPIO_InitStruct.Pull = GPIO_NOPULL;
  HAL_GPIO_Init(uSD_Detect_GPIO_Port, &GPIO_InitStruct);

  /*Configure GPIO pins : FMC_A0_Pin FMC_A1_Pin FMC_A2_Pin FMC_A3_Pin
                           FMC_A4_Pin FMC_A5_Pin FMC_A6_Pin FMC_A9_Pin
                           FMC_A7_Pin FMC_A8_Pin FMC_SDNRAS_Pin */
  GPIO_InitStruct.Pin = FMC_A0_Pin|FMC_A1_Pin|FMC_A2_Pin|FMC_A3_Pin
                          |FMC_A4_Pin|FMC_A5_Pin|FMC_A6_Pin|FMC_A9_Pin
                          |FMC_A7_Pin|FMC_A8_Pin|FMC_SDNRAS_Pin;
  GPIO_InitStruct.Mode = GPIO_MODE_AF_PP;
  GPIO_InitStruct.Pull = GPIO_NOPULL;
  GPIO_InitStruct.Speed = GPIO_SPEED_FREQ_VERY_HIGH;
  GPIO_InitStruct.Alternate = GPIO_AF12_FMC;
  HAL_GPIO_Init(GPIOF, &GPIO_InitStruct);

  /*Configure GPIO pins : LCD_HSYNC_Pin LCD_VSYNC_Pin LCD_R0_Pin LCD_CLK_Pin */
  GPIO_InitStruct.Pin = LCD_HSYNC_Pin|LCD_VSYNC_Pin|LCD_R0_Pin|LCD_CLK_Pin;
  GPIO_InitStruct.Mode = GPIO_MODE_AF_PP;
  GPIO_InitStruct.Pull = GPIO_NOPULL;
  GPIO_InitStruct.Speed = GPIO_SPEED_FREQ_LOW;
  GPIO_InitStruct.Alternate = GPIO_AF14_LTDC;
  HAL_GPIO_Init(GPIOI, &GPIO_InitStruct);

  /*Configure GPIO pin : LCD_BL_CTRL_Pin */
  GPIO_InitStruct.Pin = LCD_BL_CTRL_Pin;
  GPIO_InitStruct.Mode = GPIO_MODE_OUTPUT_PP;
  GPIO_InitStruct.Pull = GPIO_NOPULL;
  GPIO_InitStruct.Speed = GPIO_SPEED_FREQ_LOW;
  HAL_GPIO_Init(LCD_BL_CTRL_GPIO_Port, &GPIO_InitStruct);

  /*Configure GPIO pin : DCMI_VSYNC_Pin */
  GPIO_InitStruct.Pin = DCMI_VSYNC_Pin;
  GPIO_InitStruct.Mode = GPIO_MODE_AF_PP;
  GPIO_InitStruct.Pull = GPIO_NOPULL;
  GPIO_InitStruct.Speed = GPIO_SPEED_FREQ_LOW;
  GPIO_InitStruct.Alternate = GPIO_AF13_DCMI;
  HAL_GPIO_Init(DCMI_VSYNC_GPIO_Port, &GPIO_InitStruct);

  /*Configure GPIO pin : OTG_FS_OverCurrent_Pin */
  GPIO_InitStruct.Pin = OTG_FS_OverCurrent_Pin;
  GPIO_InitStruct.Mode = GPIO_MODE_INPUT;
  GPIO_InitStruct.Pull = GPIO_NOPULL;
  HAL_GPIO_Init(OTG_FS_OverCurrent_GPIO_Port, &GPIO_InitStruct);

  /*Configure GPIO pins : TP3_Pin NC2_Pin */
  GPIO_InitStruct.Pin = TP3_Pin|NC2_Pin;
  GPIO_InitStruct.Mode = GPIO_MODE_INPUT;
  GPIO_InitStruct.Pull = GPIO_NOPULL;
  HAL_GPIO_Init(GPIOH, &GPIO_InitStruct);

  /*Configure GPIO pin : ARDUINO_SCK_D13_Pin */
  GPIO_InitStruct.Pin = ARDUINO_SCK_D13_Pin;
  GPIO_InitStruct.Mode = GPIO_MODE_AF_PP;
  GPIO_InitStruct.Pull = GPIO_NOPULL;
  GPIO_InitStruct.Speed = GPIO_SPEED_FREQ_LOW;
  GPIO_InitStruct.Alternate = GPIO_AF5_SPI2;
  HAL_GPIO_Init(ARDUINO_SCK_D13_GPIO_Port, &GPIO_InitStruct);

  /*Configure GPIO pin : DCMI_PWR_EN_Pin */
  GPIO_InitStruct.Pin = DCMI_PWR_EN_Pin;
  GPIO_InitStruct.Mode = GPIO_MODE_OUTPUT_PP;
  GPIO_InitStruct.Pull = GPIO_NOPULL;
  GPIO_InitStruct.Speed = GPIO_SPEED_FREQ_LOW;
  HAL_GPIO_Init(DCMI_PWR_EN_GPIO_Port, &GPIO_InitStruct);

  /*Configure GPIO pins : DCMI_D4_Pin DCMI_D3_Pin DCMI_D0_Pin DCMI_D2_Pin
                           DCMI_D1_Pin */
  GPIO_InitStruct.Pin = DCMI_D4_Pin|DCMI_D3_Pin|DCMI_D0_Pin|DCMI_D2_Pin
                          |DCMI_D1_Pin;
  GPIO_InitStruct.Mode = GPIO_MODE_AF_PP;
  GPIO_InitStruct.Pull = GPIO_NOPULL;
  GPIO_InitStruct.Speed = GPIO_SPEED_FREQ_LOW;
  GPIO_InitStruct.Alternate = GPIO_AF13_DCMI;
  HAL_GPIO_Init(GPIOH, &GPIO_InitStruct);

  /*Configure GPIO pin : ARDUINO_PWM_CS_D5_Pin */
  GPIO_InitStruct.Pin = ARDUINO_PWM_CS_D5_Pin;
  GPIO_InitStruct.Mode = GPIO_MODE_AF_PP;
  GPIO_InitStruct.Pull = GPIO_NOPULL;
  GPIO_InitStruct.Speed = GPIO_SPEED_FREQ_LOW;
  GPIO_InitStruct.Alternate = GPIO_AF2_TIM5;
  HAL_GPIO_Init(ARDUINO_PWM_CS_D5_GPIO_Port, &GPIO_InitStruct);

  /*Configure GPIO pin : VCP_TX_Pin */
  GPIO_InitStruct.Pin = VCP_TX_Pin;
  GPIO_InitStruct.Mode = GPIO_MODE_AF_PP;
  GPIO_InitStruct.Pull = GPIO_NOPULL;
  GPIO_InitStruct.Speed = GPIO_SPEED_FREQ_LOW;
  GPIO_InitStruct.Alternate = GPIO_AF7_USART1;
  HAL_GPIO_Init(VCP_TX_GPIO_Port, &GPIO_InitStruct);

  /*Configure GPIO pin : ARDUINO_PWM_D10_Pin */
  GPIO_InitStruct.Pin = ARDUINO_PWM_D10_Pin;
  GPIO_InitStruct.Mode = GPIO_MODE_AF_PP;
  GPIO_InitStruct.Pull = GPIO_NOPULL;
  GPIO_InitStruct.Speed = GPIO_SPEED_FREQ_LOW;
  GPIO_InitStruct.Alternate = GPIO_AF1_TIM1;
  HAL_GPIO_Init(ARDUINO_PWM_D10_GPIO_Port, &GPIO_InitStruct);

  /*Configure GPIO pin : LCD_INT_Pin */
  GPIO_InitStruct.Pin = LCD_INT_Pin;
  GPIO_InitStruct.Mode = GPIO_MODE_EVT_RISING;
  GPIO_InitStruct.Pull = GPIO_NOPULL;
  HAL_GPIO_Init(LCD_INT_GPIO_Port, &GPIO_InitStruct);

  /*Configure GPIO pins : ARDUINO_RX_D0_Pin ARDUINO_TX_D1_Pin */
  GPIO_InitStruct.Pin = ARDUINO_RX_D0_Pin|ARDUINO_TX_D1_Pin;
  GPIO_InitStruct.Mode = GPIO_MODE_AF_PP;
  GPIO_InitStruct.Pull = GPIO_NOPULL;
  GPIO_InitStruct.Speed = GPIO_SPEED_FREQ_VERY_HIGH;
  GPIO_InitStruct.Alternate = GPIO_AF8_USART6;
  HAL_GPIO_Init(GPIOC, &GPIO_InitStruct);

  /*Configure GPIO pin : ULPI_NXT_Pin */
  GPIO_InitStruct.Pin = ULPI_NXT_Pin;
  GPIO_InitStruct.Mode = GPIO_MODE_AF_PP;
  GPIO_InitStruct.Pull = GPIO_NOPULL;
  GPIO_InitStruct.Speed = GPIO_SPEED_FREQ_VERY_HIGH;
  GPIO_InitStruct.Alternate = GPIO_AF10_OTG_HS;
  HAL_GPIO_Init(ULPI_NXT_GPIO_Port, &GPIO_InitStruct);

  /*Configure GPIO pins : FMC_SDNME_Pin FMC_SDNE0_Pin */
  GPIO_InitStruct.Pin = FMC_SDNME_Pin|FMC_SDNE0_Pin;
  GPIO_InitStruct.Mode = GPIO_MODE_AF_PP;
  GPIO_InitStruct.Pull = GPIO_NOPULL;
  GPIO_InitStruct.Speed = GPIO_SPEED_FREQ_VERY_HIGH;
  GPIO_InitStruct.Alternate = GPIO_AF12_FMC;
  HAL_GPIO_Init(GPIOH, &GPIO_InitStruct);

  /*Configure GPIO pins : ARDUINO_D4_Pin ARDUINO_D2_Pin EXT_RST_Pin */
  GPIO_InitStruct.Pin = ARDUINO_D4_Pin|ARDUINO_D2_Pin|EXT_RST_Pin;
  GPIO_InitStruct.Mode = GPIO_MODE_OUTPUT_PP;
  GPIO_InitStruct.Pull = GPIO_NOPULL;
  GPIO_InitStruct.Speed = GPIO_SPEED_FREQ_LOW;
  HAL_GPIO_Init(GPIOG, &GPIO_InitStruct);

  /*Configure GPIO pins : ARDUINO_A4_Pin ARDUINO_A5_Pin ARDUINO_A1_Pin ARDUINO_A2_Pin
                           ARDUINO_A3_Pin */
  GPIO_InitStruct.Pin = ARDUINO_A4_Pin|ARDUINO_A5_Pin|ARDUINO_A1_Pin|ARDUINO_A2_Pin
                          |ARDUINO_A3_Pin;
  GPIO_InitStruct.Mode = GPIO_MODE_ANALOG;
  GPIO_InitStruct.Pull = GPIO_NOPULL;
  HAL_GPIO_Init(GPIOF, &GPIO_InitStruct);

  /*Configure GPIO pin : FMC_SDCKE0_Pin */
  GPIO_InitStruct.Pin = FMC_SDCKE0_Pin;
  GPIO_InitStruct.Mode = GPIO_MODE_AF_PP;
  GPIO_InitStruct.Pull = GPIO_NOPULL;
  GPIO_InitStruct.Speed = GPIO_SPEED_FREQ_VERY_HIGH;
  GPIO_InitStruct.Alternate = GPIO_AF12_FMC;
  HAL_GPIO_Init(FMC_SDCKE0_GPIO_Port, &GPIO_InitStruct);

  /*Configure GPIO pins : ULPI_STP_Pin ULPI_DIR_Pin */
  GPIO_InitStruct.Pin = ULPI_STP_Pin|ULPI_DIR_Pin;
  GPIO_InitStruct.Mode = GPIO_MODE_AF_PP;
  GPIO_InitStruct.Pull = GPIO_NOPULL;
  GPIO_InitStruct.Speed = GPIO_SPEED_FREQ_VERY_HIGH;
  GPIO_InitStruct.Alternate = GPIO_AF10_OTG_HS;
  HAL_GPIO_Init(GPIOC, &GPIO_InitStruct);

  /*Configure GPIO pins : RMII_MDC_Pin RMII_RXD0_Pin RMII_RXD1_Pin */
  GPIO_InitStruct.Pin = RMII_MDC_Pin|RMII_RXD0_Pin|RMII_RXD1_Pin;
  GPIO_InitStruct.Mode = GPIO_MODE_AF_PP;
  GPIO_InitStruct.Pull = GPIO_NOPULL;
  GPIO_InitStruct.Speed = GPIO_SPEED_FREQ_VERY_HIGH;
  GPIO_InitStruct.Alternate = GPIO_AF11_ETH;
  HAL_GPIO_Init(GPIOC, &GPIO_InitStruct);

  /*Configure GPIO pin : PB2 */
  GPIO_InitStruct.Pin = GPIO_PIN_2;
  GPIO_InitStruct.Mode = GPIO_MODE_AF_PP;
  GPIO_InitStruct.Pull = GPIO_NOPULL;
  GPIO_InitStruct.Speed = GPIO_SPEED_FREQ_VERY_HIGH;
  GPIO_InitStruct.Alternate = GPIO_AF9_QUADSPI;
  HAL_GPIO_Init(GPIOB, &GPIO_InitStruct);

  /*Configure GPIO pins : QSPI_D1_Pin QSPI_D3_Pin QSPI_D0_Pin */
  GPIO_InitStruct.Pin = QSPI_D1_Pin|QSPI_D3_Pin|QSPI_D0_Pin;
  GPIO_InitStruct.Mode = GPIO_MODE_AF_PP;
  GPIO_InitStruct.Pull = GPIO_NOPULL;
  GPIO_InitStruct.Speed = GPIO_SPEED_FREQ_VERY_HIGH;
  GPIO_InitStruct.Alternate = GPIO_AF9_QUADSPI;
  HAL_GPIO_Init(GPIOD, &GPIO_InitStruct);

  /*Configure GPIO pin : RMII_RXER_Pin */
  GPIO_InitStruct.Pin = RMII_RXER_Pin;
  GPIO_InitStruct.Mode = GPIO_MODE_INPUT;
  GPIO_InitStruct.Pull = GPIO_NOPULL;
  HAL_GPIO_Init(RMII_RXER_GPIO_Port, &GPIO_InitStruct);

  /*Configure GPIO pins : RMII_REF_CLK_Pin RMII_MDIO_Pin RMII_CRS_DV_Pin */
  GPIO_InitStruct.Pin = RMII_REF_CLK_Pin|RMII_MDIO_Pin|RMII_CRS_DV_Pin;
  GPIO_InitStruct.Mode = GPIO_MODE_AF_PP;
  GPIO_InitStruct.Pull = GPIO_NOPULL;
  GPIO_InitStruct.Speed = GPIO_SPEED_FREQ_VERY_HIGH;
  GPIO_InitStruct.Alternate = GPIO_AF11_ETH;
  HAL_GPIO_Init(GPIOA, &GPIO_InitStruct);

  /*Configure GPIO pin : ARDUINO_A0_Pin */
  GPIO_InitStruct.Pin = ARDUINO_A0_Pin;
  GPIO_InitStruct.Mode = GPIO_MODE_ANALOG;
  GPIO_InitStruct.Pull = GPIO_NOPULL;
  HAL_GPIO_Init(ARDUINO_A0_GPIO_Port, &GPIO_InitStruct);

  /*Configure GPIO pins : DCMI_HSYNC_Pin PA6 */
  GPIO_InitStruct.Pin = DCMI_HSYNC_Pin|GPIO_PIN_6;
  GPIO_InitStruct.Mode = GPIO_MODE_AF_PP;
  GPIO_InitStruct.Pull = GPIO_NOPULL;
  GPIO_InitStruct.Speed = GPIO_SPEED_FREQ_LOW;
  GPIO_InitStruct.Alternate = GPIO_AF13_DCMI;
  HAL_GPIO_Init(GPIOA, &GPIO_InitStruct);

  /*Configure GPIO pins : LCD_SCL_Pin LCD_SDA_Pin */
  GPIO_InitStruct.Pin = LCD_SCL_Pin|LCD_SDA_Pin;
  GPIO_InitStruct.Mode = GPIO_MODE_AF_OD;
  GPIO_InitStruct.Pull = GPIO_PULLUP;
  GPIO_InitStruct.Speed = GPIO_SPEED_FREQ_VERY_HIGH;
  GPIO_InitStruct.Alternate = GPIO_AF4_I2C3;
  HAL_GPIO_Init(GPIOH, &GPIO_InitStruct);

  /*Configure GPIO pins : ULPI_CLK_Pin ULPI_D0_Pin */
  GPIO_InitStruct.Pin = ULPI_CLK_Pin|ULPI_D0_Pin;
  GPIO_InitStruct.Mode = GPIO_MODE_AF_PP;
  GPIO_InitStruct.Pull = GPIO_NOPULL;
  GPIO_InitStruct.Speed = GPIO_SPEED_FREQ_VERY_HIGH;
  GPIO_InitStruct.Alternate = GPIO_AF10_OTG_HS;
  HAL_GPIO_Init(GPIOA, &GPIO_InitStruct);

  /*Configure GPIO pin : ARDUINO_PWM_D6_Pin */
  GPIO_InitStruct.Pin = ARDUINO_PWM_D6_Pin;
  GPIO_InitStruct.Mode = GPIO_MODE_AF_PP;
  GPIO_InitStruct.Pull = GPIO_NOPULL;
  GPIO_InitStruct.Speed = GPIO_SPEED_FREQ_LOW;
  GPIO_InitStruct.Alternate = GPIO_AF9_TIM12;
  HAL_GPIO_Init(ARDUINO_PWM_D6_GPIO_Port, &GPIO_InitStruct);

  /*Configure GPIO pins : ARDUINO_MISO_D12_Pin ARDUINO_MOSI_PWM_D11_Pin */
  GPIO_InitStruct.Pin = ARDUINO_MISO_D12_Pin|ARDUINO_MOSI_PWM_D11_Pin;
  GPIO_InitStruct.Mode = GPIO_MODE_AF_PP;
  GPIO_InitStruct.Pull = GPIO_NOPULL;
  GPIO_InitStruct.Speed = GPIO_SPEED_FREQ_LOW;
  GPIO_InitStruct.Alternate = GPIO_AF5_SPI2;
  HAL_GPIO_Init(GPIOB, &GPIO_InitStruct);

}

void Error_Handler(void)
{
  __disable_irq();
  while (1)
  {
  }
}

/************************ (C) COPYRIGHT STMicroelectronics *****END OF FILE****/
